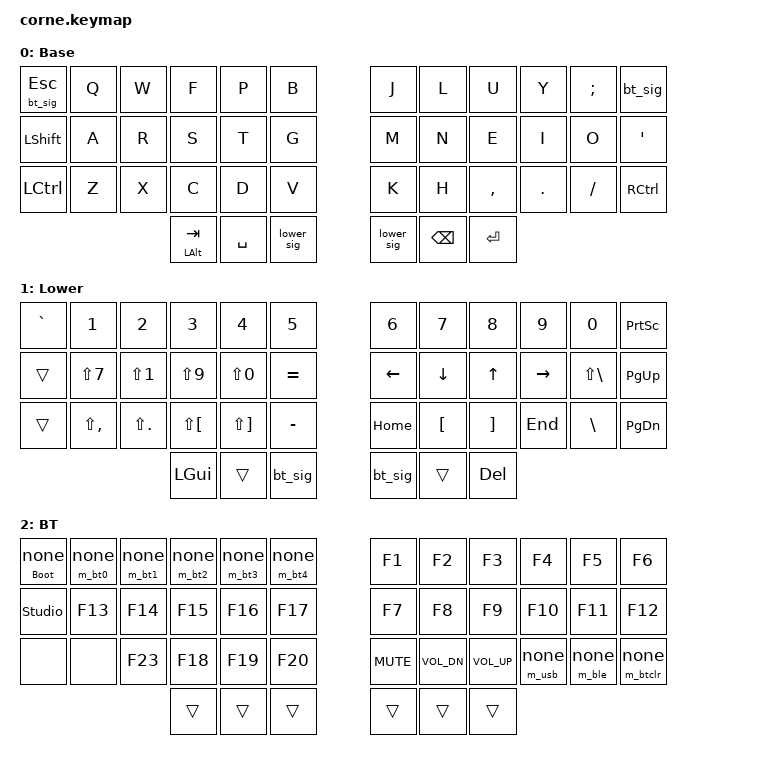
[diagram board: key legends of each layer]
/*
 * Colemak-DH for the Typeractive Corne (Choc V1, ZMK). Edit this file directly, then commit and push to build.
 */

#include <behaviors.dtsi>
#include <dt-bindings/zmk/keys.h>
#include <dt-bindings/zmk/bt.h>
#include <dt-bindings/zmk/outputs.h>

// Tab key: tap = Tab, hold = Alt. Balanced: Alt as soon as another key is pressed and released while it is held,
// or after 200 ms; a quick Tab rolled into the next key is still Tab. Held, it never repeats Tab.
&mt {
    flavor = "balanced";
    tapping-term-ms = <200>;
};

/ {
    macros {
        // Layer keys that also hold F21 (Lower) or F22 (BT) while held, so CorneHUD on the computer can show the
        // layer the moment a thumb goes down. CorneHUD hides these keys from other programs; without CorneHUD,
        // Windows and apps ignore F21/F22.
        lower_sig: lower_sig {
            compatible = "zmk,behavior-macro";
            #binding-cells = <0>;
            wait-ms = <0>;
            tap-ms = <0>;
            bindings
                = <&macro_press &mo 1 &kp F21>
                , <&macro_pause_for_release>
                , <&macro_release &mo 1 &kp F21>;
        };

        bt_sig: bt_sig {
            compatible = "zmk,behavior-macro";
            #binding-cells = <0>;
            wait-ms = <0>;
            tap-ms = <0>;
            bindings
                = <&macro_press &mo 2 &kp F22>
                , <&macro_pause_for_release>
                , <&macro_release &mo 2 &kp F22>;
        };

        m_bt0: m_bt0 {
            compatible = "zmk,behavior-macro";
            #binding-cells = <0>;
            bindings = <&bt BT_SEL 0>;
        };

        m_bt1: m_bt1 {
            compatible = "zmk,behavior-macro";
            #binding-cells = <0>;
            bindings = <&bt BT_SEL 1>;
        };

        m_bt2: m_bt2 {
            compatible = "zmk,behavior-macro";
            #binding-cells = <0>;
            bindings = <&bt BT_SEL 2>;
        };

        m_bt3: m_bt3 {
            compatible = "zmk,behavior-macro";
            #binding-cells = <0>;
            bindings = <&bt BT_SEL 3>;
        };

        m_bt4: m_bt4 {
            compatible = "zmk,behavior-macro";
            #binding-cells = <0>;
            bindings = <&bt BT_SEL 4>;
        };

        m_btclr: m_btclr {
            compatible = "zmk,behavior-macro";
            #binding-cells = <0>;
            bindings = <&bt BT_CLR>;
        };

        m_usb: m_usb {
            compatible = "zmk,behavior-macro";
            #binding-cells = <0>;
            bindings = <&out OUT_USB>;
        };

        m_ble: m_ble {
            compatible = "zmk,behavior-macro";
            #binding-cells = <0>;
            bindings = <&out OUT_BLE>;
        };
    };

    behaviors {
        // Keys that only act when held for 500 ms; a tap does nothing.
        held_bt0: held_bt0 {
            compatible = "zmk,behavior-hold-tap";
            #binding-cells = <2>;
            flavor = "tap-preferred";
            tapping-term-ms = <500>;
            bindings = <&m_bt0>, <&none>;
        };

        held_bt1: held_bt1 {
            compatible = "zmk,behavior-hold-tap";
            #binding-cells = <2>;
            flavor = "tap-preferred";
            tapping-term-ms = <500>;
            bindings = <&m_bt1>, <&none>;
        };

        held_bt2: held_bt2 {
            compatible = "zmk,behavior-hold-tap";
            #binding-cells = <2>;
            flavor = "tap-preferred";
            tapping-term-ms = <500>;
            bindings = <&m_bt2>, <&none>;
        };

        held_bt3: held_bt3 {
            compatible = "zmk,behavior-hold-tap";
            #binding-cells = <2>;
            flavor = "tap-preferred";
            tapping-term-ms = <500>;
            bindings = <&m_bt3>, <&none>;
        };

        held_bt4: held_bt4 {
            compatible = "zmk,behavior-hold-tap";
            #binding-cells = <2>;
            flavor = "tap-preferred";
            tapping-term-ms = <500>;
            bindings = <&m_bt4>, <&none>;
        };

        held_btclr: held_btclr {
            compatible = "zmk,behavior-hold-tap";
            #binding-cells = <2>;
            flavor = "tap-preferred";
            tapping-term-ms = <500>;
            bindings = <&m_btclr>, <&none>;
        };

        held_usb: held_usb {
            compatible = "zmk,behavior-hold-tap";
            #binding-cells = <2>;
            flavor = "tap-preferred";
            tapping-term-ms = <500>;
            bindings = <&m_usb>, <&none>;
        };

        held_ble: held_ble {
            compatible = "zmk,behavior-hold-tap";
            #binding-cells = <2>;
            flavor = "tap-preferred";
            tapping-term-ms = <500>;
            bindings = <&m_ble>, <&none>;
        };

        // Esc key: tap = Esc, hold = BT layer (with F22 for CorneHUD), so the left hand alone reaches the window slots.
        // Tap-preferred: it only becomes the layer once held past 200 ms, so a quick Esc is never lost.
        // The top-right key is a plain BT layer key too (it has nothing to tap), for slots with the right pinky holding.
        lt_bt: lt_bt {
            compatible = "zmk,behavior-hold-tap";
            #binding-cells = <2>;
            flavor = "tap-preferred";
            tapping-term-ms = <200>;
            bindings = <&bt_sig>, <&kp>;
        };

        held_boot: held_boot {
            compatible = "zmk,behavior-hold-tap";
            #binding-cells = <2>;
            flavor = "tap-preferred";
            tapping-term-ms = <500>;
            bindings = <&bootloader>, <&none>;
        };
    };

    keymap {
        compatible = "zmk,keymap";

        layer_0 {
            display-name = "Base";
            bindings = <
            &lt_bt 0 ESC &kp Q     &kp W     &kp F     &kp P     &kp B       &kp J     &kp L     &kp U     &kp Y     &kp SEMI  &bt_sig
            &kp LSHFT &kp A     &kp R     &kp S     &kp T     &kp G       &kp M     &kp N     &kp E     &kp I     &kp O     &kp SQT
            &kp LCTRL &kp Z     &kp X     &kp C     &kp D     &kp V       &kp K     &kp H     &kp COMMA &kp DOT   &kp FSLH  &kp RCTRL
                                    &mt LALT TAB  &kp SPACE &lower_sig  &lower_sig  &kp BSPC  &kp RET
            >;
        };

        layer_1 {
            display-name = "Lower";
            // Numbers along the top; Shift gives the usual symbols: ! @ # $ % ^ & * ( ), and ~ on the top-left key.
            // Shift also gives + on the = key, _ on the - key and | on the \ key.
            bindings = <
            &kp GRAVE     &kp N1        &kp N2        &kp N3        &kp N4        &kp N5          &kp N6        &kp N7        &kp N8        &kp N9        &kp N0        &kp PSCRN
            &trans        &kp LS(N7)    &kp LS(N1)    &kp LS(N9)    &kp LS(N0)    &kp EQUAL       &kp LEFT      &kp DOWN      &kp UP        &kp RIGHT     &kp LS(BSLH)  &kp PG_UP
            &trans        &kp LS(COMMA) &kp LS(DOT)   &kp LS(LBKT)  &kp LS(RBKT)  &kp MINUS       &kp HOME      &kp LBKT      &kp RBKT      &kp END       &kp BSLH      &kp PG_DN
                                                      &kp LGUI      &trans        &bt_sig         &bt_sig       &trans        &kp DEL
            >;
        };

        layer_2 {
            display-name = "BT";
            // Hold both big thumb keys. The Bluetooth, USB/BLE and BOOT keys only act when held for half a second,
            // so brushing them while typing does nothing.
            // Left top row: BOOT (outer) = flashing mode for the left half, BT0-BT4 on the 1-5 keys pick a Bluetooth
            // slot, so Esc held + the number key switches computers with one hand.
            // UNLOCK (home outer) = let ZMK Studio in. F13-F17 (home row) and F18-F20 (C, D, V) = window slots 1-8,
            // handled by CorneHUD: tap = go to the app, hold = put the app there.
            // F23 (X key) = mic mute, handled by CorneHUD: mutes every microphone in Windows, tap again to unmute.
            // Right bottom row: Mute / Vol- / Vol+, USB / BLE = where keys go when both are connected, BTCLR (outer)
            // forgets the current slot's pairing.
            bindings = <
            &held_boot 0 0  &held_bt0 0 0   &held_bt1 0 0   &held_bt2 0 0   &held_bt3 0 0   &held_bt4 0 0     &kp F1          &kp F2          &kp F3          &kp F4          &kp F5          &kp F6
            &studio_unlock  &kp F13         &kp F14         &kp F15         &kp F16         &kp F17           &kp F7          &kp F8          &kp F9          &kp F10         &kp F11         &kp F12
            &none           &none           &kp F23         &kp F18         &kp F19         &kp F20           &kp C_MUTE      &kp C_VOL_DN    &kp C_VOL_UP    &held_usb 0 0   &held_ble 0 0   &held_btclr 0 0
                                                            &trans          &trans          &trans            &trans          &trans          &trans
            >;
        };
    };
};
